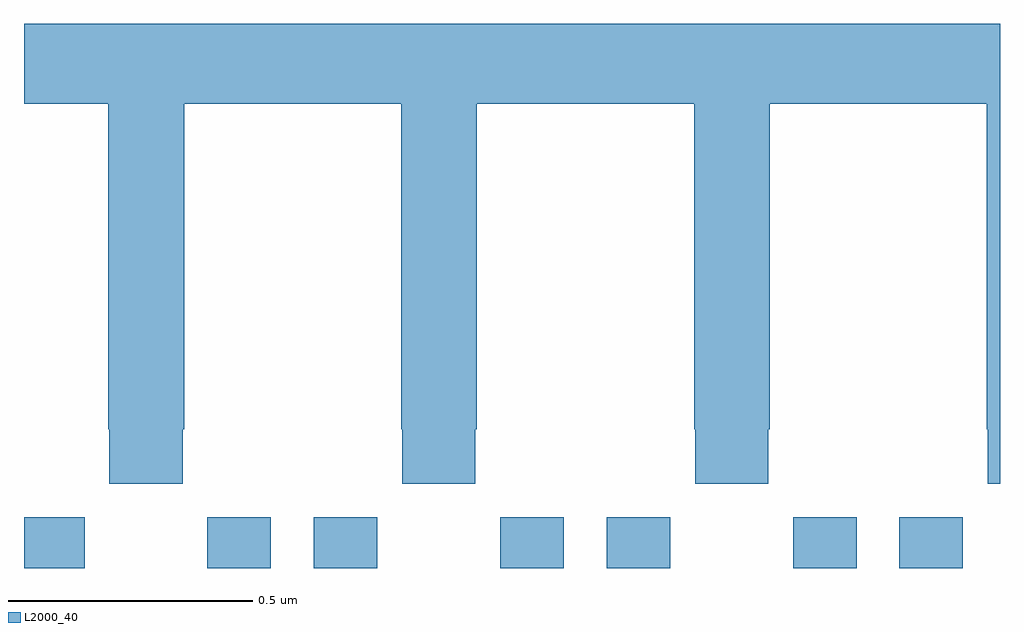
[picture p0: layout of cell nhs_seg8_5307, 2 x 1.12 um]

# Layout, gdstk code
import gdstk
lib = gdstk.Library(unit=1e-6, precision=1e-09)
def R(c, l, rs):  # rectangles x0, y0, x1, y1
    for r in rs: c.add(gdstk.rectangle(r[:2], r[2:], *l))
def P(c, l, *ps):  # polygons
    for p in ps: c.add(gdstk.Polygon(p, *l))
L2000_40 = (2000, 40)

nhs_seg8_5307 = lib.new_cell('nhs_seg8_5307')
R(nhs_seg8_5307, L2000_40, [(182,1096.9,182.124,1097.005), (182.376,1096.9,182.506,1097.005), (182.594,1096.9,182.724,1097.005), (182.976,1096.9,183.106,1097.005), (183.194,1096.9,183.324,1097.005), (183.576,1096.9,183.706,1097.005), (183.794,1096.9,183.924,1097.005)])
P(nhs_seg8_5307, L2000_40, [(182.325,1097.185),(182.328,1097.185),(182.328,1097.852),(182.773,1097.852),(182.773,1097.185),(182.775,1097.185),(182.775,1097.073),(182.925,1097.073),(182.925,1097.185),(182.928,1097.185),(182.928,1097.852),(183.373,1097.852),(183.373,1097.185),(183.375,1097.185),(183.375,1097.073),(183.525,1097.073),(183.525,1097.185),(183.528,1097.185),(183.528,1097.852),(183.973,1097.852),(183.973,1097.185),(183.975,1097.185),(183.975,1097.073),(184,1097.073),(184,1098.016),(182,1098.016),(182,1097.852),(182.173,1097.852),(182.173,1097.185),(182.175,1097.185),(182.175,1097.073),(182.325,1097.073)])

lib.write_gds('nhs_seg8_5307.gds')
